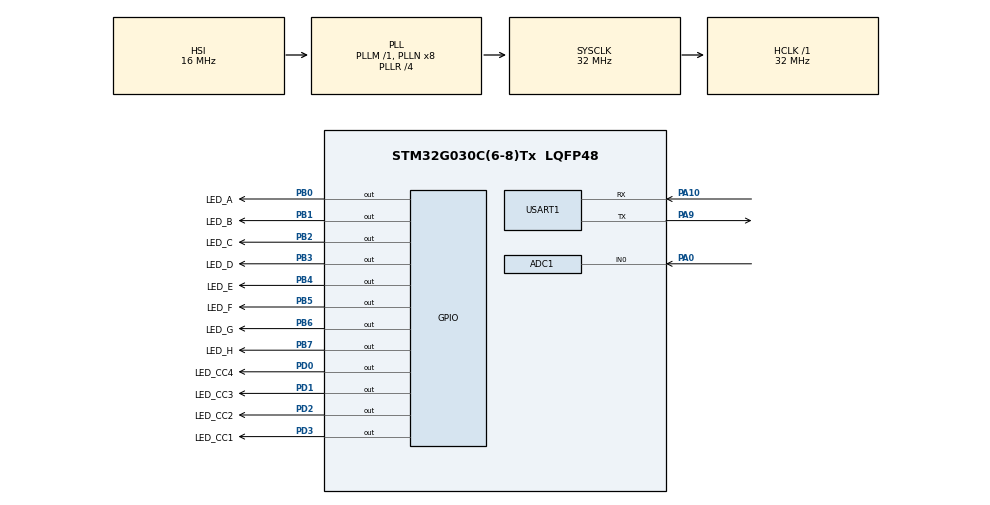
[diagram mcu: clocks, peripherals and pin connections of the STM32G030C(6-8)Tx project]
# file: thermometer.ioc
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ADC1.Channel-0\#ChannelRegularConversion=ADC_CHANNEL_0
ADC1.ExternalTrigConv=ADC_EXTERNALTRIG_T3_TRGO
ADC1.NbrOfConversionFlag=1
ADC1.Rank-0\#ChannelRegularConversion=1
ADC1.SamplingTime-0\#ChannelRegularConversion=ADC_SAMPLINGTIME_COMMON_1
ADC1.SamplingTimeCommon1=ADC_SAMPLETIME_79CYCLES_5
ADC1.SamplingTimeCommon2=ADC_SAMPLETIME_79CYCLES_5
ADC1.SelectedChannel=ADC_CHANNEL_0
ADC1.master=1
Mcu.Family=STM32G0
Mcu.Name=STM32G030C(6-8)Tx
Mcu.Package=LQFP48
NVIC.ADC1_IRQn=true\:0\:0\:false\:false\:true\:true\:true\:true
NVIC.USART1_IRQn=true\:0\:0\:false\:false\:true\:true\:true\:true
PA0.Mode=IN0
PA0.Signal=ADC1_IN0
PA10.Mode=Asynchronous
PA10.Signal=USART1_RX
PA13.Mode=Serial_Wire
PA13.Signal=SYS_SWDIO
PA14-BOOT0.Mode=Serial_Wire
PA14-BOOT0.Signal=SYS_SWCLK
PA9.Mode=Asynchronous
PA9.Signal=USART1_TX
PB0.GPIO_Label=LED_A
PB0.Signal=GPIO_Output
PB1.GPIO_Label=LED_B
PB1.Signal=GPIO_Output
PB2.GPIO_Label=LED_C
PB2.Signal=GPIO_Output
PB3.GPIO_Label=LED_D
PB3.Signal=GPIO_Output
PB4.GPIO_Label=LED_E
PB4.Signal=GPIO_Output
PB5.GPIO_Label=LED_F
PB5.Signal=GPIO_Output
PB6.GPIO_Label=LED_G
PB6.Signal=GPIO_Output
PB7.GPIO_Label=LED_H
PB7.Signal=GPIO_Output
PD0.GPIO_Label=LED_CC4
PD0.GPIO_ModeDefaultOutputPP=GPIO_MODE_OUTPUT_OD
PD0.GPIO_PuPd=GPIO_NOPULL
PD0.PinState=GPIO_PIN_SET
PD0.Signal=GPIO_Output
PD1.GPIO_Label=LED_CC3
PD1.GPIO_ModeDefaultOutputPP=GPIO_MODE_OUTPUT_OD
PD1.GPIO_PuPd=GPIO_NOPULL
PD1.PinState=GPIO_PIN_SET
PD1.Signal=GPIO_Output
PD2.GPIO_Label=LED_CC2
PD2.GPIO_ModeDefaultOutputPP=GPIO_MODE_OUTPUT_OD
PD2.GPIO_PuPd=GPIO_NOPULL
PD2.PinState=GPIO_PIN_SET
PD2.Signal=GPIO_Output
PD3.GPIO_Label=LED_CC1
PD3.GPIO_ModeDefaultOutputPP=GPIO_MODE_OUTPUT_OD
PD3.GPIO_PuPd=GPIO_NOPULL
PD3.PinState=GPIO_PIN_SET
PD3.Signal=GPIO_Output
ProjectManager.HeapSize=0x200
ProjectManager.StackSize=0x400
ProjectManager.TargetToolchain=MDK-ARM V5.32
RCC.ADCFreq_Value=32000000
RCC.AHBFreq_Value=32000000
RCC.CortexFreq_Value=32000000
RCC.EXTERNAL_CLOCK_VALUE=12288000
RCC.HCLKFreq_Value=32000000
RCC.HSE_VALUE=8000000
RCC.HSI_VALUE=16000000
RCC.LSE_VALUE=32768
RCC.PLLR=RCC_PLLR_DIV4
RCC.SYSCLKFreq_VALUE=32000000
RCC.SYSCLKSource=RCC_SYSCLKSOURCE_PLLCLK
RCC.VCOOutputFreq_Value=128000000
TIM3.Period=9999
TIM3.Prescaler=31
TIM3.TIM_MasterOutputTrigger=TIM_TRGO_UPDATE
USART1.VirtualMode-Asynchronous=VM_ASYNC
VP_TIM3_VS_ClockSourceINT.Mode=Internal
board=custom

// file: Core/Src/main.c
/* USER CODE BEGIN Header */
/**
  ******************************************************************************
  * @file           : main.c
  * @brief          : Main program body
  ******************************************************************************
  * @attention
  *
  * Copyright (c) 2022 STMicroelectronics.
  * All rights reserved.
  *
  * This software is licensed under terms that can be found in the LICENSE file
  * in the root directory of this software component.
  * If no LICENSE file comes with this software, it is provided AS-IS.
  *
  ******************************************************************************
  */
/* USER CODE END Header */
#include "main.h"
#include "adc.h"
#include "tim.h"
#include "usart.h"
#include "gpio.h"

/* USER CODE BEGIN Includes */
#include "led_seg_display.h"
#include <stdio.h>
#include <math.h>
/* USER CODE END Includes */

/* USER CODE BEGIN PV */
uint32_t volt_buf[50], volt_cnt, avg_volt;
double avg_temp;
uint8_t rdy_to_send;
/* USER CODE END PV */

void SystemClock_Config(void);

/* USER CODE BEGIN 0 */
void display_volt(uint32_t volt)
{
	dig_array[0] = volt % 10;
	dig_array[1] = volt / 10 % 10;
	dig_array[2] = volt / 100 % 10;
	dig_array[3] = (volt / 1000 % 10) | 0x10; //显示小数点
}

double volt2temp(uint32_t volt) //mV
{
  double res_x = 11 / (3992.0 / volt - 1);
  double temperature = 1 / (1 / 298.15 - log(10.0 / res_x) / 3950) - 273.15;
	return temperature;
}

double round(double val)
{
	return (val > 0.0) ? floor(val + 0.5) : ceil(val - 0.5);
}

void display_temp(double temp)
{
	int t = (int)round(temp * 10); //分辨率0.1
	if (t < 0) {
		dig_array[3] = 0xff; //>-5
		dig_array[2] = 0x80; //minus
		t = -t;
	}
	else {
		if (t >= 1000) //100 degree
			dig_array[3] = t / 1000 % 10;
		else
			dig_array[3] = 0xff; //none

		if (t >= 100) //10 degree
			dig_array[2] = t / 100 % 10;
		else
			dig_array[2] = 0xff; //none
	}
	dig_array[1] = t / 10 % 10 | 0x10;
	dig_array[0] = t % 10;
}

void HAL_ADC_ConvCpltCallback(ADC_HandleTypeDef* hadc) //10ms
{
	uint16_t value;
	static uint32_t volt, display_volt_tim = 0;
	uint32_t volt_sum = 0;
	if(HAL_IS_BIT_SET(HAL_ADC_GetState(&hadc1), HAL_ADC_STATE_REG_EOC)) {
		value = HAL_ADC_GetValue(&hadc1);
		volt = value * 3300 / 4096; //value to voltage
		volt_buf[volt_cnt++] = volt;
		if(volt_cnt == 50)
			volt_cnt = 0;

		display_volt_tim++;
		if(display_volt_tim == 20) { //每秒更新5次
			display_volt_tim = 0;
			volt_sum = 0;
			for(uint8_t i = 0; i < 50; i++) //50个为一组取平均
				volt_sum += volt_buf[i];
			avg_volt = volt_sum / 50;
			//display_volt(avg_volt);
			avg_temp = volt2temp(avg_volt);
			display_temp(avg_temp);
			rdy_to_send = 1;
		}
	}
}
/* USER CODE END 0 */

int main(void)
{
  /* USER CODE BEGIN 1 */
	volt_cnt = 0;
	uint8_t buf[50];
	uint32_t len;
  /* USER CODE END 1 */

  /* MCU Configuration--------------------------------------------------------*/

  /* Reset of all peripherals, Initializes the Flash interface and the Systick. */
  HAL_Init();

  /* USER CODE BEGIN Init */
	LEDSEG_Display_Init();
  /* USER CODE END Init */

  /* Configure the system clock */
  SystemClock_Config();

  /* Initialize all configured peripherals */
  MX_GPIO_Init();
  MX_ADC1_Init();
  MX_TIM3_Init();
  MX_USART1_UART_Init();
  /* USER CODE BEGIN 2 */
	HAL_ADCEx_Calibration_Start(&hadc1);
	HAL_ADC_Start_IT(&hadc1);
	HAL_TIM_Base_Start(&htim3);
  /* USER CODE END 2 */

  /* Infinite loop */
  while (1)
  {
    /* USER CODE BEGIN 3 */
		if(rdy_to_send) {
			len = sprintf((char *)buf, "temperature=%.2lf℃\r\n", avg_temp);
			//len = sprintf((char *)buf, "volt=%dmV\r\ntemperature=%.2lf℃\r\n", avg_volt, volt2temp(avg_volt));
			HAL_UART_Transmit_IT(&huart1, buf, len);
			rdy_to_send = 0;
		}
  }
  /* USER CODE END 3 */
}

void SystemClock_Config(void)
{
  RCC_OscInitTypeDef RCC_OscInitStruct = {0};
  RCC_ClkInitTypeDef RCC_ClkInitStruct = {0};

  /** Configure the main internal regulator output voltage
  */
  HAL_PWREx_ControlVoltageScaling(PWR_REGULATOR_VOLTAGE_SCALE1);

  /** Initializes the RCC Oscillators according to the specified parameters
  * in the RCC_OscInitTypeDef structure.
  */
  RCC_OscInitStruct.OscillatorType = RCC_OSCILLATORTYPE_HSI;
  RCC_OscInitStruct.HSIState = RCC_HSI_ON;
  RCC_OscInitStruct.HSIDiv = RCC_HSI_DIV1;
  RCC_OscInitStruct.HSICalibrationValue = RCC_HSICALIBRATION_DEFAULT;
  RCC_OscInitStruct.PLL.PLLState = RCC_PLL_ON;
  RCC_OscInitStruct.PLL.PLLSource = RCC_PLLSOURCE_HSI;
  RCC_OscInitStruct.PLL.PLLM = RCC_PLLM_DIV1;
  RCC_OscInitStruct.PLL.PLLN = 8;
  RCC_OscInitStruct.PLL.PLLP = RCC_PLLP_DIV2;
  RCC_OscInitStruct.PLL.PLLR = RCC_PLLR_DIV4;
  if (HAL_RCC_OscConfig(&RCC_OscInitStruct) != HAL_OK)
  {
    Error_Handler();
  }

  /** Initializes the CPU, AHB and APB buses clocks
  */
  RCC_ClkInitStruct.ClockType = RCC_CLOCKTYPE_HCLK|RCC_CLOCKTYPE_SYSCLK
                              |RCC_CLOCKTYPE_PCLK1;
  RCC_ClkInitStruct.SYSCLKSource = RCC_SYSCLKSOURCE_PLLCLK;
  RCC_ClkInitStruct.AHBCLKDivider = RCC_SYSCLK_DIV1;
  RCC_ClkInitStruct.APB1CLKDivider = RCC_HCLK_DIV1;

  if (HAL_RCC_ClockConfig(&RCC_ClkInitStruct, FLASH_LATENCY_1) != HAL_OK)
  {
    Error_Handler();
  }
}

void Error_Handler(void)
{
  __disable_irq();
  while (1)
  {
  }
}
